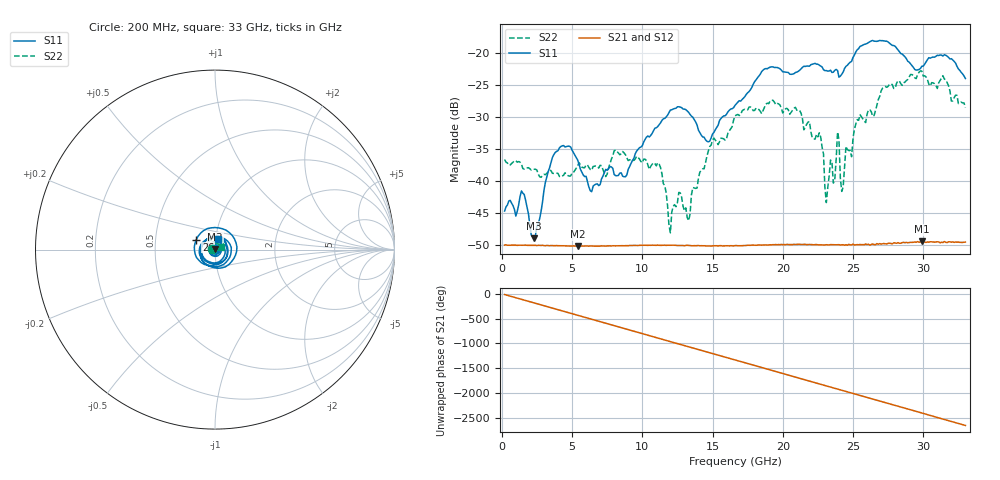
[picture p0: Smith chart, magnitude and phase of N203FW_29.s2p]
# GHZ S RI R 50
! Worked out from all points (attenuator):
!   329 points, 200 MHz to 33 GHz, reference 50 ohm
!   highest |S21| = -49.38 dB at 29.9 GHz (marker M1); lowest = -50.1 dB at 5.4 GHz (marker M2)
!   lowest |S11| = -48.9 dB at 2.3 GHz (marker M3), VSWR 1.01, Z = 50.1 + j0.341 ohm
!   |S11| at or under -10 dB: start of sweep to end of sweep
!   |S22| runs from -48.1 to -22.8 dB; largest |S21 - S12| = 8.8e-05
!   S11 on the Smith chart (normalised r, x): 200 MHz: 1.01, +0.00; 26 GHz: 0.81, +0.09; 33 GHz: 1.03, +0.13
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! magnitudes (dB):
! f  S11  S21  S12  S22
! 200 MHz  -44.7  -49.9  -49.9  -36.6
! 1.4 GHz  -41.5  -50.0  -50.0  -37.4
! 2.3 GHz  -48.9  -50.0  -50.0  -38.1
! 3.7 GHz  -35.9  -50.1  -50.0  -38.8
! 5.4 GHz  -36.7  -50.1  -50.1  -37.6
! 5.7 GHz  -38.6  -50.1  -50.1  -37.8
! 8.8 GHz  -39.3  -50.0  -50.0  -35.9
! 11.2 GHz  -31.2  -50.0  -50.0  -37.3
! 12 GHz  -28.9  -50.0  -50.0  -48.1
! 14.7 GHz  -33.9  -50.1  -50.1  -35.3
! 16.6 GHz  -28.2  -50.0  -50.0  -29.8
! 22.1 GHz  -21.8  -49.9  -49.9  -33.2
! 22.7 GHz  -22.1  -49.9  -49.9  -33.1
! 23.1 GHz  -22.8  -49.9  -49.9  -43.3
! 23.7 GHz  -22.7  -49.9  -49.9  -39.8
! 23.9 GHz  -22.8  -49.9  -49.9  -32.4
! 24.2 GHz  -23.4  -49.9  -49.9  -41.6
! 24.5 GHz  -22.1  -49.9  -49.9  -34.6
! 26 GHz  -18.6  -49.9  -49.8  -29.6
! 27.6 GHz  -18.5  -49.7  -49.7  -24.9
! 29.9 GHz  -22.1  -49.4  -49.5  -22.9
! 33 GHz  -24.0  -49.5  -49.5  -28.5
